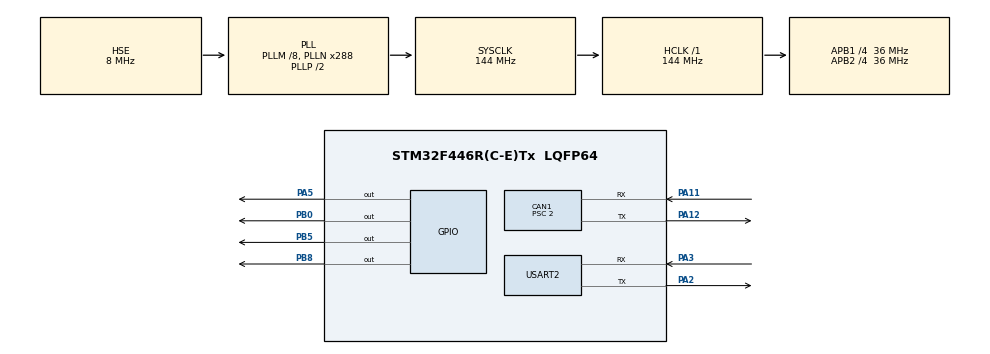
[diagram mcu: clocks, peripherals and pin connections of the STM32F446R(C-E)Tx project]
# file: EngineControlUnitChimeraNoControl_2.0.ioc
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CAN1.AWUM=ENABLE
CAN1.BS1=CAN_BS1_12TQ
CAN1.BS2=CAN_BS2_5TQ
CAN1.CalculateTimeQuantum=55.55555555555556
CAN1.NART=ENABLE
CAN1.Prescaler=2
Mcu.Family=STM32F4
Mcu.Name=STM32F446R(C-E)Tx
Mcu.Package=LQFP64
NVIC.CAN1_RX0_IRQn=true\:0\:0\:false\:true\:true\:1\:true\:true
NVIC.CAN1_RX1_IRQn=true\:0\:0\:false\:true\:true\:2\:true\:true
NVIC.CAN1_SCE_IRQn=true\:0\:0\:false\:true\:true\:3\:true\:true
NVIC.PriorityGroup=NVIC_PRIORITYGROUP_4
NVIC.TIM1_UP_TIM10_IRQn=true\:0\:0\:false\:false\:true\:true\:true
NVIC.TIM6_DAC_IRQn=true\:0\:0\:false\:true\:true\:4\:true\:true
NVIC.TIM7_IRQn=true\:0\:0\:false\:true\:true\:5\:true\:true
PA11.Mode=Master
PA11.Signal=CAN1_RX
PA12.Mode=Master
PA12.Signal=CAN1_TX
PA2.Mode=Asynchronous
PA2.Signal=USART2_TX
PA3.Mode=Asynchronous
PA3.Signal=USART2_RX
PA5.Signal=GPIO_Output
PB0.Signal=GPIO_Output
PB5.Signal=GPIO_Output
PB8.Signal=GPIO_Output
PH0-OSC_IN.Mode=HSE-External-Clock-Source
PH0-OSC_IN.Signal=RCC_OSC_IN
PH1-OSC_OUT.Mode=HSE-External-Clock-Source
PH1-OSC_OUT.Signal=RCC_OSC_OUT
ProjectManager.HeapSize=0x2000
ProjectManager.StackSize=0x4000
ProjectManager.TargetToolchain=STM32CubeIDE
RCC.AHBFreq_Value=144000000
RCC.APB1CLKDivider=RCC_HCLK_DIV4
RCC.APB1Freq_Value=36000000
RCC.APB1TimFreq_Value=72000000
RCC.APB2CLKDivider=RCC_HCLK_DIV4
RCC.APB2Freq_Value=36000000
RCC.APB2TimFreq_Value=72000000
RCC.CortexFreq_Value=144000000
RCC.HCLKFreq_Value=144000000
RCC.HSE_VALUE=8000000
RCC.PLLM=8
RCC.PLLN=288
RCC.PLLQ=8
RCC.PLLSourceVirtual=RCC_PLLSOURCE_HSE
RCC.SYSCLKFreq_VALUE=144000000
RCC.SYSCLKSource=RCC_SYSCLKSOURCE_PLLCLK
RCC.USBFreq_Value=36000000
RCC.VCOOutputFreq_Value=288000000
TIM10.Period=49999
TIM10.Prescaler=7199
TIM6.Period=1999
TIM6.Prescaler=719
TIM7.Period=19999
TIM7.Prescaler=7199
USART2.VirtualMode=VM_ASYNC
VP_TIM10_VS_ClockSourceINT.Mode=Enable_Timer
VP_TIM6_VS_ClockSourceINT.Mode=Enable_Timer
VP_TIM7_VS_ClockSourceINT.Mode=Enable_Timer
board=ECUC

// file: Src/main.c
/* USER CODE BEGIN Header */
/**
  ******************************************************************************
  * @file           : main.c
  * @brief          : Main program body
  ******************************************************************************
  * @attention
  *
  * <h2><center>&copy; Copyright (c) 2019 STMicroelectronics.
  * All rights reserved.</center></h2>
  *
  * This software component is licensed by ST under BSD 3-Clause license,
  * the "License"; You may not use this file except in compliance with the
  * License. You may obtain a copy of the License at:
  *                        opensource.org/licenses/BSD-3-Clause
  *
  ******************************************************************************
  */
/* USER CODE END Header */

#include "main.h"

/* USER CODE BEGIN Includes */
#include <string.h>
#include <stdlib.h>
#include <stdio.h>
#include <inttypes.h>
#include <math.h>
#include "stm32f4xx_hal_gpio.h"
#include "stm32f4xx_hal_tim.h"
#include <stdbool.h>

#define LONG_DELTA 3000
#define SHORT_DELTA 850
#define TIMER_PERIOD 5000

#define MSG_LENGHT 8
#define NUM_DATA 100

#define ID_STEERING_WHEEL 160
#define ID_PEDALS 176
#define ID_FRONT 192
#define ID_CENTER 208
#define ID_BMS_HV 170
#define ID_BMS_LV 255
#define ID_ASK_INV_SX 513
#define ID_ASK_INV_DX 514
#define ID_REQ_INV_SX 385
#define ID_REQ_INV_DX 386
#define ID_ECU 85
#define ID_ASK_STATE 16

#define MAX_POWER 8.0
/* USER CODE END Includes */

CAN_HandleTypeDef hcan1;

TIM_HandleTypeDef htim6;
TIM_HandleTypeDef htim7;
TIM_HandleTypeDef htim10;

UART_HandleTypeDef huart2;

/* USER CODE BEGIN PV */
/* Private variables ---------------------------------------------------------*/

//----------------typedef---------------
typedef uint8_t errorsInt;

// List of SCS
typedef enum {APPS, BSE, LV, MOT_TEMP_SX, MOT_TEMP_DX, INV_TEMP_SX, INV_TEMP_DX, INV_CUR_SX, INV_CUR_DX, NUM_SCS} scsList;

typedef struct fifoDataType {
	int idsave;
	uint8_t RxData[MSG_LENGHT];
} fifoDataType;

typedef struct state_global_data_t{
	bool tractiveSystem;	// Tractive system on=1/off=0
    bool go;				// run=1/setup=0
    bool breakingPedal;		// breaking pedal down=1/up=0
    bool inverterSx;		// inverter Sx enable=1/disable=0
    bool inverterDx;		// inverter Dx enable=1/disable=0
    bool requestOfShutdown;	// shutdown request done yes=1/no=0
    bool writeInCan;		// write in can=1/wait next timeout=0

    bool steeringPresence;
	bool pedalsPresence;
	bool frontalPresence;
	bool centralPresence;
	bool bmsLvPresence;
	bool bmsHvPresence;
	bool invDxPresence;
	bool invSxPresence;

    errorsInt errors;
    errorsInt warningsB1;

    uint8_t scs[NUM_SCS];

	fifoDataType fifoData[NUM_DATA];

	uint16_t dataCounterUp;
	uint16_t dataCounterDown;

    uint8_t accelerator;	// apps value
    uint16_t motLeftTemp;
    uint16_t motRightTemp;
    uint16_t invLeftTemp;
    uint16_t invRightTemp;
    uint16_t invLeftVol;
    uint16_t invRightVol;
    uint16_t invLeftCur;
    uint16_t invRightCur;
    uint32_t hvVol;
    int16_t hvCur;
    int curRequested;
    int8_t powerRequested;		// % of power requested

    uint32_t steeringTimeStamp;
    uint32_t pedalsTimeStamp;
    uint32_t frontalTimeStamp;
    uint32_t centralTimeStamp;
    uint32_t bmsLvTimeStamp;
    uint32_t bmsHvTimeStamp;
    uint32_t invDxTimeStamp;
    uint32_t invSxTimeStamp;
    uint32_t actualTime;
} state_global_data_t;

// List of states
typedef enum {STATE_INIT, STATE_IDLE, STATE_SETUP, STATE_RUN, NUM_STATES} state_t;

// State function and state transition prototypes
typedef state_t state_func_t(state_global_data_t *data);
typedef void transition_func_t(state_global_data_t *data);

/* ---------------- CAN ------------------ */
CAN_FilterTypeDef sFilter;
CAN_RxHeaderTypeDef RxHeader;
HAL_CAN_StateTypeDef state;

/* USER CODE END PV */

void SystemClock_Config(void);
static void MX_GPIO_Init(void);
static void MX_USART2_UART_Init(void);
static void MX_TIM6_Init(void);
static void MX_TIM7_Init(void);
static void MX_CAN1_Init(void);
static void MX_TIM10_Init(void);
static void MX_NVIC_Init(void);
/* USER CODE BEGIN PFP */
/* Private function prototypes -----------------------------------------------*/

//------------------CAN------------------
int CAN_Send(int id, uint8_t *dataTx, int size);
int CAN_Receive(uint8_t *DataRx, int size);

//-----State functions declarations-----
state_t run_state(state_t cur_state, state_global_data_t *data);
state_func_t* const state_table[NUM_STATES];
transition_func_t* const transition_table[NUM_STATES][NUM_STATES];
state_t do_state_init(state_global_data_t *data);
state_t do_state_idle(state_global_data_t *data);
state_t do_state_setup(state_global_data_t *data);
state_t do_state_run(state_global_data_t *data);

//--Transition functions declarations--
void to_idle(state_global_data_t *data);
void from_idle_to_setup(state_global_data_t *data);
void from_run_to_setup(state_global_data_t *data);
void to_run(state_global_data_t *data);

//---------operative function---------
void initData(state_global_data_t *data);
void canSendMSGInit(uint8_t *CanSendMSG);
void checkTimeStamp(state_global_data_t *data);
void sendErrors(state_global_data_t *data);
void shutdown (state_global_data_t *data);
void shutdownErrors(state_global_data_t *data, int err);
void checkValues (state_global_data_t *data);
void transmission (state_global_data_t *data);
/* USER CODE END PFP */

/* USER CODE BEGIN 0 */

/* ---global variables--- */

uint8_t canSendMSG[MSG_LENGHT];
state_global_data_t data;
char mander[50];

/* USER CODE END 0 */

int main(void)
{

  /* MCU Configuration--------------------------------------------------------*/

  /* Reset of all peripherals, Initializes the Flash interface and the Systick. */
  HAL_Init();

  /* USER CODE BEGIN Init */
  state_t STATO = STATE_INIT;
  /* USER CODE END Init */

  /* Configure the system clock */
  SystemClock_Config();

  /* Initialize all configured peripherals */
  MX_GPIO_Init();
  MX_USART2_UART_Init();
  MX_TIM6_Init();
  MX_TIM7_Init();
  MX_CAN1_Init();
  MX_TIM10_Init();

  /* Initialize interrupts */
  MX_NVIC_Init();
  /* USER CODE BEGIN 2 */
  sFilter.FilterMode = CAN_FILTERMODE_IDMASK;
  sFilter.FilterIdLow = 0;
  sFilter.FilterIdHigh = 0;
  sFilter.FilterMaskIdHigh = 0;
  sFilter.FilterMaskIdLow = 0;
  sFilter.FilterFIFOAssignment = CAN_FILTER_FIFO0;
  sFilter.FilterBank = 0;
  sFilter.FilterScale  = CAN_FILTERSCALE_16BIT;
  sFilter.FilterActivation = ENABLE;
  HAL_CAN_ConfigFilter(&hcan1, &sFilter);

  //HAL_CAN_Init(&hcan1);
  HAL_CAN_Start(&hcan1);

  //HAL_TIM_Base_Start(&htim6);
  //HAL_TIM_Base_Start(&htim7);
  HAL_TIM_Base_Start_IT(&htim6);
  HAL_TIM_Base_Start_IT(&htim7);
  HAL_TIM_Base_Start(&htim10);

  __HAL_TIM_SetCounter(&htim6, 0);
  __HAL_TIM_SetCounter(&htim7, 0);
  __HAL_TIM_SetCounter(&htim10, 0);

  HAL_CAN_ActivateNotification(&hcan1, CAN1_RX0_IRQn);
  HAL_CAN_ActivateNotification(&hcan1, CAN1_RX1_IRQn);
  /* USER CODE END 2 */

  /* Infinite loop */
  /* USER CODE BEGIN WHILE */

  while (1){
	checkTimeStamp(&data);
	STATO = run_state(STATO, &data);
	HAL_Delay(0.1);

	if (HAL_GetTick() % 10 > 0 && data.writeInCan == false){
		data.writeInCan = true;
	}

    /* USER CODE END WHILE */

  }
}

void SystemClock_Config(void)
{
  RCC_OscInitTypeDef RCC_OscInitStruct = {0};
  RCC_ClkInitTypeDef RCC_ClkInitStruct = {0};

  /** Configure the main internal regulator output voltage
  */
  __HAL_RCC_PWR_CLK_ENABLE();
  __HAL_PWR_VOLTAGESCALING_CONFIG(PWR_REGULATOR_VOLTAGE_SCALE1);
  /** Initializes the CPU, AHB and APB busses clocks
  */
  RCC_OscInitStruct.OscillatorType = RCC_OSCILLATORTYPE_HSE;
  RCC_OscInitStruct.HSEState = RCC_HSE_BYPASS;
  RCC_OscInitStruct.PLL.PLLState = RCC_PLL_ON;
  RCC_OscInitStruct.PLL.PLLSource = RCC_PLLSOURCE_HSE;
  RCC_OscInitStruct.PLL.PLLM = 8;
  RCC_OscInitStruct.PLL.PLLN = 288;
  RCC_OscInitStruct.PLL.PLLP = RCC_PLLP_DIV2;
  RCC_OscInitStruct.PLL.PLLQ = 8;
  RCC_OscInitStruct.PLL.PLLR = 2;
  if (HAL_RCC_OscConfig(&RCC_OscInitStruct) != HAL_OK)
  {
    Error_Handler();
  }
  /** Initializes the CPU, AHB and APB busses clocks
  */
  RCC_ClkInitStruct.ClockType = RCC_CLOCKTYPE_HCLK|RCC_CLOCKTYPE_SYSCLK
                              |RCC_CLOCKTYPE_PCLK1|RCC_CLOCKTYPE_PCLK2;
  RCC_ClkInitStruct.SYSCLKSource = RCC_SYSCLKSOURCE_PLLCLK;
  RCC_ClkInitStruct.AHBCLKDivider = RCC_SYSCLK_DIV1;
  RCC_ClkInitStruct.APB1CLKDivider = RCC_HCLK_DIV4;
  RCC_ClkInitStruct.APB2CLKDivider = RCC_HCLK_DIV4;

  if (HAL_RCC_ClockConfig(&RCC_ClkInitStruct, FLASH_LATENCY_4) != HAL_OK)
  {
    Error_Handler();
  }
}

/**
  * @brief NVIC Configuration.
  * @retval None
  */
static void MX_NVIC_Init(void)
{
  /* CAN1_RX0_IRQn interrupt configuration */
  HAL_NVIC_SetPriority(CAN1_RX0_IRQn, 0, 0);
  HAL_NVIC_EnableIRQ(CAN1_RX0_IRQn);
  /* CAN1_RX1_IRQn interrupt configuration */
  HAL_NVIC_SetPriority(CAN1_RX1_IRQn, 0, 0);
  HAL_NVIC_EnableIRQ(CAN1_RX1_IRQn);
  /* CAN1_SCE_IRQn interrupt configuration */
  HAL_NVIC_SetPriority(CAN1_SCE_IRQn, 0, 0);
  HAL_NVIC_EnableIRQ(CAN1_SCE_IRQn);
  /* TIM6_DAC_IRQn interrupt configuration */
  HAL_NVIC_SetPriority(TIM6_DAC_IRQn, 0, 0);
  HAL_NVIC_EnableIRQ(TIM6_DAC_IRQn);
  /* TIM7_IRQn interrupt configuration */
  HAL_NVIC_SetPriority(TIM7_IRQn, 0, 0);
  HAL_NVIC_EnableIRQ(TIM7_IRQn);
}

static void MX_CAN1_Init(void)
{

  hcan1.Instance = CAN1;
  hcan1.Init.Prescaler = 2;
  hcan1.Init.Mode = CAN_MODE_NORMAL;
  hcan1.Init.SyncJumpWidth = CAN_SJW_1TQ;
  hcan1.Init.TimeSeg1 = CAN_BS1_12TQ;
  hcan1.Init.TimeSeg2 = CAN_BS2_5TQ;
  hcan1.Init.TimeTriggeredMode = DISABLE;
  hcan1.Init.AutoBusOff = DISABLE;
  hcan1.Init.AutoWakeUp = ENABLE;
  hcan1.Init.AutoRetransmission = ENABLE;
  hcan1.Init.ReceiveFifoLocked = DISABLE;
  hcan1.Init.TransmitFifoPriority = DISABLE;
  if (HAL_CAN_Init(&hcan1) != HAL_OK)
  {
    Error_Handler();
  }

}

static void MX_TIM6_Init(void)
{

  TIM_MasterConfigTypeDef sMasterConfig = {0};

  htim6.Instance = TIM6;
  htim6.Init.Prescaler = 719;
  htim6.Init.CounterMode = TIM_COUNTERMODE_UP;
  htim6.Init.Period = 1999;
  htim6.Init.AutoReloadPreload = TIM_AUTORELOAD_PRELOAD_DISABLE;
  if (HAL_TIM_Base_Init(&htim6) != HAL_OK)
  {
    Error_Handler();
  }
  sMasterConfig.MasterOutputTrigger = TIM_TRGO_RESET;
  sMasterConfig.MasterSlaveMode = TIM_MASTERSLAVEMODE_DISABLE;
  if (HAL_TIMEx_MasterConfigSynchronization(&htim6, &sMasterConfig) != HAL_OK)
  {
    Error_Handler();
  }

}

static void MX_TIM7_Init(void)
{

  TIM_MasterConfigTypeDef sMasterConfig = {0};

  htim7.Instance = TIM7;
  htim7.Init.Prescaler = 7199;
  htim7.Init.CounterMode = TIM_COUNTERMODE_UP;
  htim7.Init.Period = 19999;
  htim7.Init.AutoReloadPreload = TIM_AUTORELOAD_PRELOAD_DISABLE;
  if (HAL_TIM_Base_Init(&htim7) != HAL_OK)
  {
    Error_Handler();
  }
  sMasterConfig.MasterOutputTrigger = TIM_TRGO_RESET;
  sMasterConfig.MasterSlaveMode = TIM_MASTERSLAVEMODE_DISABLE;
  if (HAL_TIMEx_MasterConfigSynchronization(&htim7, &sMasterConfig) != HAL_OK)
  {
    Error_Handler();
  }

}

static void MX_TIM10_Init(void)
{

  htim10.Instance = TIM10;
  htim10.Init.Prescaler = 7199;
  htim10.Init.CounterMode = TIM_COUNTERMODE_UP;
  htim10.Init.Period = 49999;
  htim10.Init.ClockDivision = TIM_CLOCKDIVISION_DIV1;
  htim10.Init.AutoReloadPreload = TIM_AUTORELOAD_PRELOAD_DISABLE;
  if (HAL_TIM_Base_Init(&htim10) != HAL_OK)
  {
    Error_Handler();
  }

}

static void MX_USART2_UART_Init(void)
{

  huart2.Instance = USART2;
  huart2.Init.BaudRate = 115200;
  huart2.Init.WordLength = UART_WORDLENGTH_8B;
  huart2.Init.StopBits = UART_STOPBITS_1;
  huart2.Init.Parity = UART_PARITY_NONE;
  huart2.Init.Mode = UART_MODE_TX_RX;
  huart2.Init.HwFlowCtl = UART_HWCONTROL_NONE;
  huart2.Init.OverSampling = UART_OVERSAMPLING_16;
  if (HAL_UART_Init(&huart2) != HAL_OK)
  {
    Error_Handler();
  }

}

static void MX_GPIO_Init(void)
{
  GPIO_InitTypeDef GPIO_InitStruct = {0};

  /* GPIO Ports Clock Enable */
  __HAL_RCC_GPIOH_CLK_ENABLE();
  __HAL_RCC_GPIOA_CLK_ENABLE();
  __HAL_RCC_GPIOB_CLK_ENABLE();

  /*Configure GPIO pin Output Level */
  HAL_GPIO_WritePin(GPIOA, GPIO_PIN_5, GPIO_PIN_RESET);

  /*Configure GPIO pin Output Level */
  HAL_GPIO_WritePin(GPIOB, GPIO_PIN_0|GPIO_PIN_5|GPIO_PIN_8, GPIO_PIN_RESET);

  /*Configure GPIO pin : PA5 */
  GPIO_InitStruct.Pin = GPIO_PIN_5;
  GPIO_InitStruct.Mode = GPIO_MODE_OUTPUT_PP;
  GPIO_InitStruct.Pull = GPIO_NOPULL;
  GPIO_InitStruct.Speed = GPIO_SPEED_FREQ_LOW;
  HAL_GPIO_Init(GPIOA, &GPIO_InitStruct);

  /*Configure GPIO pins : PB0 PB5 PB8 */
  GPIO_InitStruct.Pin = GPIO_PIN_0|GPIO_PIN_5|GPIO_PIN_8;
  GPIO_InitStruct.Mode = GPIO_MODE_OUTPUT_PP;
  GPIO_InitStruct.Pull = GPIO_NOPULL;
  GPIO_InitStruct.Speed = GPIO_SPEED_FREQ_LOW;
  HAL_GPIO_Init(GPIOB, &GPIO_InitStruct);

}

/* USER CODE BEGIN 4 */

//---------------CAN--------------
int CAN_Send(int id, uint8_t dataTx[], int size){
	/* This function is used to send msgs via can.
	 * In the condition all the mailbox are considered to be sure that
	 * you can physically send the msg.
	 * The delay is needed because of the hardware: if you must send more
	 * than one msgs the hardware has to take its time to reload the msg. */
	uint32_t mailbox;
	uint8_t flag = 0;

	CAN_TxHeaderTypeDef TxHeader;
	TxHeader.StdId = id;
	TxHeader.IDE = CAN_ID_STD;
	TxHeader.RTR = CAN_RTR_DATA;
	TxHeader.DLC = size;
	TxHeader.TransmitGlobalTime = DISABLE;

	if (HAL_CAN_GetTxMailboxesFreeLevel(&hcan1) != 0 && HAL_CAN_IsTxMessagePending(&hcan1, CAN_TX_MAILBOX0+CAN_TX_MAILBOX1+CAN_TX_MAILBOX2) == 0){
		HAL_CAN_AddTxMessage(&hcan1, &TxHeader, dataTx, &mailbox);
		flag = 1;
	}

	HAL_Delay(1);

	return flag;
}

int CAN_Receive(uint8_t *DataRx, int size){
	/* This function is used to receive the msgs sent by other devices */
	if (HAL_CAN_GetRxFifoFillLevel(&hcan1, CAN_RX_FIFO0) != 0){
		HAL_CAN_GetRxMessage(&hcan1, CAN_RX_FIFO0, &RxHeader, DataRx);
	}

	int id = RxHeader.StdId;

	return id;
}

//-----------Interrupt-----------
void HAL_CAN_RxFifo0FullCallback(CAN_HandleTypeDef *hcan){
	/* This function works in interrupt mode, whenever there is a new msg sent by other
	 * devices this is called back.
	 * The idea is to save the new msg in a circular FIFO so that is possible to process
	 * it during the execution of the state in which you are after the interrupt is ended.
	 * Then it looks at the id of the msg to know which device sent it and saves the time
	 * msg is arrived.
	 * In case of the pedals the variables are immediately set because of the delay could
	 * be introduced during the processing of the FIFO in the states.
	 * After all the CounterUp is incremented to point out a new msg is arrived.
	 * Than the operation mod is done so that prevents to make counter overflow */
	int idsave;
	uint8_t RxData[MSG_LENGHT];

	idsave = CAN_Receive(RxData, MSG_LENGHT);

	data.fifoData[data.dataCounterUp].idsave = idsave;
	for (int i = 0; i < MSG_LENGHT; i++){
		data.fifoData[data.dataCounterUp].RxData[i] = RxData[i];
	}

	data.dataCounterUp += 1;
	data.dataCounterUp = data.dataCounterUp % NUM_DATA;

	switch(idsave){
		case ID_STEERING_WHEEL:
			data.steeringPresence = true;
			data.steeringTimeStamp = HAL_GetTick();
			if (RxData[0] == 0x09){
				char mander[50];
				sprintf(mander, "Request Received\n\r");
				HAL_UART_Transmit(&huart2, (uint8_t*)mander, strlen(mander), 10);
			}
			break;
		case ID_PEDALS:
			if (RxData[0] == 0x01 && data.go == 1){
				data.accelerator = RxData[1];
			}else if (RxData[0] == 0x02 && data.go == 1){
				data.breakingPedal = RxData[1];
			}

			data.pedalsPresence = true;
			data.pedalsTimeStamp = HAL_GetTick();
			break;
		case ID_FRONT:
			data.frontalPresence = true;
			data.frontalTimeStamp = HAL_GetTick();
			break;
		case ID_CENTER:
			data.centralPresence = true;
			data.centralTimeStamp = HAL_GetTick();
			break;
		case ID_REQ_INV_SX:
			data.invSxPresence = true;
			data.invSxTimeStamp = HAL_GetTick();
			break;
		case ID_REQ_INV_DX:
			data.invDxPresence = true;
			data.invDxTimeStamp = HAL_GetTick();
			break;
		case ID_BMS_HV:
			data.bmsHvPresence = true;
			data.bmsHvTimeStamp = HAL_GetTick();
			break;
		case ID_BMS_LV:
			data.bmsLvPresence = true;
			data.bmsLvTimeStamp = HAL_GetTick();
			break;
		default:
			/* Non succede niente ai timestamp */
			break;
	}

	if (data.dataCounterUp == data.dataCounterDown){
		shutdownErrors(&data, 0x23);
	}
}

void HAL_CAN_RxFifo1FullCallback(CAN_HandleTypeDef *hcan){
	/* This function works in interrupt mode, whenever there is a new msg sent by other
	 * devices this is called back.
	 * The idea is to save the new msg in a circular FIFO so that is possible to process
	 * it during the execution of the state in which you are after the interrupt is ended.
	 * Then it looks at the id of the msg to know which device sent it and saves the time
	 * msg is arrived.
	 * In case of the pedals the variables are immediately set because of the delay could
	 * be introduced during the processing of the FIFO in the states.
	 * After all the CounterUp is incremented to point out a new msg is arrived.
	 * Than the operation mod is done so that prevents to make counter overflow */
	int idsave;
	uint8_t RxData[MSG_LENGHT];

	idsave = CAN_Receive(RxData, MSG_LENGHT);

	data.fifoData[data.dataCounterUp].idsave = idsave;
	for (int i = 0; i < MSG_LENGHT; i++){
		data.fifoData[data.dataCounterUp].RxData[i] = RxData[i];
	}

	data.dataCounterUp += 1;
	data.dataCounterUp = data.dataCounterUp % NUM_DATA;

	switch(idsave){
		case ID_STEERING_WHEEL:
			data.steeringPresence = true;
			data.steeringTimeStamp = HAL_GetTick();
			break;
		case ID_PEDALS:
			if (RxData[0] == 0x01 && data.go == 1){
				data.accelerator = RxData[1];
			}else if (RxData[0] == 0x02 && data.go == 1){
				data.breakingPedal = RxData[1];
			}

			data.pedalsPresence = true;
			data.pedalsTimeStamp = HAL_GetTick();
			break;
		case ID_FRONT:
			data.frontalPresence = true;
			data.frontalTimeStamp = HAL_GetTick();
			break;
		case ID_CENTER:
			data.centralPresence = true;
			data.centralTimeStamp = HAL_GetTick();
			break;
		case ID_REQ_INV_SX:
			data.invSxPresence = true;
			data.invSxTimeStamp = HAL_GetTick();
			break;
		case ID_REQ_INV_DX:
			data.invDxPresence = true;
			data.invDxTimeStamp = HAL_GetTick();
			break;
		case ID_BMS_HV:
			data.bmsHvPresence = true;
			data.bmsHvTimeStamp = HAL_GetTick();
			break;
		case ID_BMS_LV:
			data.bmsLvPresence = true;
			data.bmsLvTimeStamp = HAL_GetTick();
			break;
		default:
			/* Non succede niente ai timestamp */
			break;
	}

	if (data.dataCounterUp == data.dataCounterDown){
		shutdownErrors(&data, 0x23);
	}
}

void HAL_TIM_PeriodElapsedCallback(TIM_HandleTypeDef *htim){
	/* This functions works in interrupt mode, there are two conditions based on the
	 * timer.
	 * The first one is used to timing the writing in can of recursived msgs like the
	 * torque request to inverter.
	 * The second one is used to make buzzer sounds for just two seconds like set in
	 * the settings of the timer. */

	/*if (htim->Instance == TIM6){
		data.writeInCan = true;
	}*/

	if (htim->Instance == TIM7){
		if (HAL_GPIO_ReadPin(GPIOB, GPIO_PIN_8) == GPIO_PIN_SET){
			HAL_GPIO_WritePin(GPIOB, GPIO_PIN_8, GPIO_PIN_RESET);
		}
	}
}

//-------do_state functions-------
state_t do_state_init(state_global_data_t *data){
	/* This state is the initialization state: it's the first of the Finite State Machine
	 * but it's executed just one time suddenly the car is turned on. */
	initData(data);
	return STATE_IDLE;
}

state_t do_state_idle(state_global_data_t *data){
	/* In this state the Tractive System is completely disable. This is the first state
	 * which the driver is put in contact, here it's possible to turning on the car.
	 * The first thing to do is to check if the CounterDown and the CounterUp are different,
	 * if they are it means that new msgs have been saved in the FIFO so it's possible to
	 * process it.
	 * The mod operation is done to be sure the that counter doesn't overflow.
	 * After this a switch structure checks the id of the first msg to process, if it
	 * corresponds to one of the case considered than it executes the request and
	 * increments the CounterDown else it simply increments the counter.
	 * At the end, if the driver asks for the turning on of the car ECU sends a msg
	 * to the BMS_HV, after receiving back the confirm the variable Tractive System
	 * is set to true and there the FSM goes to the SETUP state. */
	if (data->dataCounterUp != data->dataCounterDown){
		switch(data->fifoData[data->dataCounterDown].idsave){
			/* Debug case: just to know if it's online and in which state */
			case ID_ASK_STATE:
				canSendMSGInit(canSendMSG);
				canSendMSG[0] = 0x10;
				canSendMSG[1] = 0x01;
				CAN_Send(ID_ECU, canSendMSG, MSG_LENGHT);
				break;
			case ID_STEERING_WHEEL:
				switch (data->fifoData[data->dataCounterDown].RxData[0]){
					/* Check who is online */
					case 0x02:
						sendErrors(data);
						break;
					/* Turning on car driver request */
					case 0x03:
						sendErrors(data);
						/* Check for critical errors */
						if (data->errors == 0 || data->errors == 16 || data->errors == 32 || data->errors == 48){
							/* Turning on car request to bms_hv*/
							canSendMSGInit(canSendMSG);
							canSendMSG[0] = 0x0A;
							CAN_Send(ID_ECU, canSendMSG, MSG_LENGHT);
						}
						break;
					default:
						break;
				}
				break;
			case ID_BMS_HV:
				switch (data->fifoData[data->dataCounterDown].RxData[0]){
					/* Turning on car confirmed */
					case 0x03:
						data->tractiveSystem = true;
						break;
					/* Turning off car: shouldn't never happen here */
					case 0x04:
						data->tractiveSystem = false;
						break;
					default:
						break;
				}
				break;
			case ID_REQ_INV_SX:
				/* Check for Inverter status */
				if (data->fifoData[data->dataCounterDown].RxData[0] == 0xD8){
					if (data->fifoData[data->dataCounterDown].RxData[2] == 0x0C){
						canSendMSG[0] = 0x08;
						CAN_Send(ID_ECU, canSendMSG, MSG_LENGHT);
						data->inverterSx = true;
					}else{
						canSendMSG[0] = 0x0C;
						CAN_Send(ID_ECU, canSendMSG, MSG_LENGHT);
						data->inverterSx = false;
					}
				}
				break;
			case ID_REQ_INV_DX:
				/* Check for Inverter status */
				if (data->fifoData[data->dataCounterDown].RxData[0] == 0xD8){
					if (data->fifoData[data->dataCounterDown].RxData[2] == 0x0C){
						canSendMSG[0] = 0x09;
						CAN_Send(ID_ECU, canSendMSG, MSG_LENGHT);
						data->inverterDx = true;
					}else{
						canSendMSG[0] = 0x0D;
						CAN_Send(ID_ECU, canSendMSG, MSG_LENGHT);
						data->inverterDx = false;
					}
				}
				break;
			default:
				break;
		}
		data->dataCounterDown += 1;
		data->dataCounterDown = data->dataCounterDown % NUM_DATA;
	}

	if (data->steeringPresence == true && data->tractiveSystem == true){
		return STATE_SETUP;
	}
	return STATE_IDLE;
}

state_t do_state_setup(state_global_data_t *data){
	/* This state is structured like IDLE.
	 * In this state is possible to:
	 * 	1. enable inverters on driver request. At the moment it's possible to
	 * 	   enable just once a time. Before sending the request it checks the
	 * 	   temperature to avoid issues.
	 *	2. go back to state IDLE on driver request. Please note: to change state
	 *	   confirm by BMS_HV is needed.
	 *	3. go to state RUN on driver request. To go to that state there are
	 *	   some conditions: first of all inverters have to be enabled; then the
	 *	   breaking pedal has to be pressed (by regulation) and no requests of
	 *	   shutdown have to be done. If everything is verified after the request
	 *	   the variable go is set to true.
	 * Since the tractive system is on, all the critical issues have to be checked
	 * so scs signals are analyzed. */
	if (data->dataCounterUp != data->dataCounterDown){
		switch (data->fifoData[data->dataCounterDown].idsave){
			/* Debug case: just to know if it's online and in which state */
			case ID_ASK_STATE:
				canSendMSGInit(canSendMSG);
				canSendMSG[0] = 0x10;
				canSendMSG[1] = 0x02;
				CAN_Send(ID_ECU, canSendMSG, MSG_LENGHT);
				break;
			case ID_STEERING_WHEEL:
				switch (data->fifoData[data->dataCounterDown].RxData[0]){
					/* Check who is online */
					case 0x02:
						sendErrors(data);
						// TODO: reinsert
						//if (data->errors != 0 && data->errors != 16 && data->errors != 32 && data->errors != 48){
							/* Turning on car request to bms_hv*/
							//shutdownErrors(data, data->errors);
						//}
						break;
					/* Stop msg from driver */
					case 0x04:
						shutdown(data);
						break;
					/* Going to run mode driver request */
					case 0x05:
						/* If inverter are turned on and break is pressed i can go to run */
						if (data->inverterSx == true && data->inverterDx == true && data->breakingPedal == true && data->requestOfShutdown == false){
							data->go = true;
							/* Map */
							if (data->fifoData[data->dataCounterDown].RxData[1] == 0xEC){
								data->powerRequested = -20;
							}else{
								data->powerRequested = data->fifoData[data->dataCounterDown].RxData[1];
							}
						}
						break;
					/* Turning on Inverter sx driver request */
					case 0x08:
						if (data->invLeftTemp < 80){
							canSendMSGInit(canSendMSG);

							/* Enable Inverter msg */
							canSendMSG[0] = 0x51;
							canSendMSG[1] = 0x08;
							CAN_Send(ID_ASK_INV_SX, canSendMSG, MSG_LENGHT);

							/* Status Request */
							canSendMSG[0] = 0x3D;
							canSendMSG[1] = 0xD8;
							CAN_Send(ID_ASK_INV_SX, canSendMSG, MSG_LENGHT);
						}
						break;
					/* Turning on Inverter dx driver request */
					case 0x09:
						if (data->invRightTemp < 80){
							canSendMSGInit(canSendMSG);

							/* Enable Inverter msg */
							canSendMSG[0] = 0x51;
							canSendMSG[1] = 0x08;
							CAN_Send(ID_ASK_INV_DX, canSendMSG, MSG_LENGHT);

							/* Status Request */
							canSendMSG[0] = 0x3D;
							canSendMSG[1] = 0xD8;
							CAN_Send(ID_ASK_INV_DX, canSendMSG, MSG_LENGHT);
						}
						break;
					default:
						break;
				}
				break;
			case ID_BMS_HV:
				switch (data->fifoData[data->dataCounterDown].RxData[0]){
					/* Shutdown confirmed */
					case 0x04:
						data->tractiveSystem = false;
						break;
					/* Shutdown caused by an error */
					case 0x08:
						data->tractiveSystem = false;
						break;
					default:
						break;
				}
				break;
			case ID_BMS_LV:
				/* Saving SCS */
				if (data->fifoData[data->dataCounterDown].RxData[0] == 0x01){
					data->scs[LV] = data->fifoData[data->dataCounterDown].RxData[5];
				}
				break;
			case ID_PEDALS:
				/* Saving SCS */
				switch (data->fifoData[data->dataCounterDown].RxData[0]){
					case 0x01:
						data->scs[APPS] = data->fifoData[data->dataCounterDown].RxData[6];
						break;
					case 0x02:
						data->breakingPedal = data->fifoData[data->dataCounterDown].RxData[1];
						data->scs[BSE] = data->fifoData[data->dataCounterDown].RxData[6];
						break;
					default:
						break;
				}
				break;
			case ID_FRONT:
				break;
			case ID_CENTER:
				break;
			case ID_REQ_INV_SX:
				switch (data->fifoData[data->dataCounterDown].RxData[0]){
					case 0x4A:
						data->invLeftTemp = (data->fifoData[data->dataCounterDown].RxData[2] * 256 + data->fifoData[data->dataCounterDown].RxData[1] - 15797) / 112.1182;
						break;
					/* Check for Inverter status */
					case 0xD8:
						if (data->fifoData[data->dataCounterDown].RxData[2] == 0x0C && data->requestOfShutdown == false){
							canSendMSG[0] = 0x08;
							CAN_Send(ID_ECU, canSendMSG, MSG_LENGHT);
							data->inverterSx = true;
						}else{
							canSendMSG[0] = 0x0C;
							CAN_Send(ID_ECU, canSendMSG, MSG_LENGHT);
							data->inverterSx = false;
						}
						break;
					default:
						break;
				}
				break;
			case ID_REQ_INV_DX:
				switch (data->fifoData[data->dataCounterDown].RxData[0]){
					case 0x4A:
						data->invRightTemp = (data->fifoData[data->dataCounterDown].RxData[2] * 256 + data->fifoData[data->dataCounterDown].RxData[1] - 15797) / 112.1182;
						break;
					/* Check for Inverter status */
					case 0xD8:
						if (data->fifoData[data->dataCounterDown].RxData[2] == 0x0C && data->requestOfShutdown == false){
							canSendMSG[0] = 0x09;
							CAN_Send(ID_ECU, canSendMSG, MSG_LENGHT);
							data->inverterDx = true;
						}else{
							canSendMSG[0] = 0x0D;
							CAN_Send(ID_ECU, canSendMSG, MSG_LENGHT);
							data->inverterDx = false;
						}
						break;
					default:
						break;
				}
				break;
			default:
				break;
		}
		data->dataCounterDown += 1;
		data->dataCounterDown = data->dataCounterDown % NUM_DATA;
	}

	/* Check SCS */
	for (int i = 0; i < NUM_SCS; i++){
		if (data->scs[i] != 0){
			shutdownErrors(data, ID_STEERING_WHEEL);
		}
	}

	/* TODO: inserire un messaggio mandato ogni tot, serve per avvisare il BMS_HV che l'ecu � online */
	/*if (data->writeInCan){
		canSendMSGInit(canSendMSG);
		CAN_Send(ID_ECU, canSendMSG, MSG_LENGHT);

		data->writeInCan = false;
	}*/

	if (data->tractiveSystem == false){
		return STATE_IDLE;
	}
	if (data->go == true){
		return STATE_RUN;
	}

	return STATE_SETUP;
}

state_t do_state_run (state_global_data_t *data){
	/* This state is structured like IDLE. Here the car is completely able to run.
	 * In this state is possible to:
	 * 	1. go back to state SETUP on driver request, please note: from here is
	 * 	   not possible to go to state IDLE except for some error.
	 *	2. change map, so that driver could choose power at anytime.
	 *	3. to execute controls: yaw control and slip control to optimize trajectory
	 *	   and at the end transmit current requests to inverters.
	 * Writing in can is possible just every 10 ms, that's because otherwise it
	 * could be possible to block the can-bus.
	 * Since the tractive system is on, all the critical issues have to be checked
	 * so scs signals are analyzed. */
	if (data->dataCounterDown != data->dataCounterUp){
		switch (data->fifoData[data->dataCounterDown].idsave){
			/* Debug case: just to know if it's online and in which state */
			case ID_ASK_STATE:
				canSendMSGInit(canSendMSG);
				canSendMSG[0] = 0x10;
				canSendMSG[1] = 0x03;
				CAN_Send(ID_ECU, canSendMSG, MSG_LENGHT);
				break;
			case ID_STEERING_WHEEL:
				switch (data->fifoData[data->dataCounterDown].RxData[0]){
					/* Check who is online */
					case 0x02:
						sendErrors(data);
						/* map changing */
						if (data->fifoData[data->dataCounterDown].RxData[1] == 0xEC){
							data->powerRequested = -20;
						}else{
							data->powerRequested = data->fifoData[data->dataCounterDown].RxData[1];
						}
						break;
						// TODO: reinsert
						//if (data->errors != 0 && data->errors != 16 && data->errors != 32 && data->errors != 48){
							/* Turning on car request to bms_hv*/
							//shutdownErrors(data, data->errors);
						//}
						break;
					/* Setup request */
					case 0x06:
						data->go = false;
						break;
					default:
						break;
				}
				break;
			case ID_PEDALS:
				switch (data->fifoData[data->dataCounterDown].RxData[0]){
					/* Saving SCS */
					case 0x01:
						data->scs[APPS] = data->fifoData[data->dataCounterDown].RxData[6];
						break;
					case 0x02:
						data->scs[BSE] = data->fifoData[data->dataCounterDown].RxData[6];
						break;
					default:
						break;
				}
				break;
			case ID_FRONT:
				break;
			case ID_CENTER:
				break;
			case ID_BMS_LV:
				switch (data->fifoData[data->dataCounterDown].RxData[0]){
					/* Saving SCS */
					case 0x01:
						data->scs[LV] = data->fifoData[data->dataCounterDown].RxData[5];
						break;
					default:
						break;
				}
				break;
			case ID_BMS_HV:
				switch (data->fifoData[data->dataCounterDown].RxData[0]){
					/* Volt --> must be converted */
					case 0x01:
						data->hvVol = ((data->fifoData[data->dataCounterDown].RxData[1] << 16) + (data->fifoData[data->dataCounterDown].RxData[2] << 8) + 0x00) / 10000;
						break;
					case 0x05:
						data->hvCur = (*(int16_t*) (data->fifoData[data->dataCounterDown].RxData+1))/10;
						break;
					/* Shutdown caused by an error */
					case 0x08:
						data->tractiveSystem = false;
						data->go = false;
						break;
					default:
						break;
				}
				break;
			case ID_REQ_INV_SX:
				switch (data->fifoData[data->dataCounterDown].RxData[0]){
					case 0x4A:
						data->invLeftTemp = data->fifoData[data->dataCounterDown].RxData[2] * 256 + data->fifoData[data->dataCounterDown].RxData[1];
						break;
					case 0x49:
						data->motLeftTemp = data->fifoData[data->dataCounterDown].RxData[2] * 256 + data->fifoData[data->dataCounterDown].RxData[1];
						break;
					default:
						break;
				}
				break;
			case ID_REQ_INV_DX:
				switch (data->fifoData[data->dataCounterDown].RxData[0]){
					case 0x4A:
						data->invRightTemp = data->fifoData[data->dataCounterDown].RxData[2] * 256 + data->fifoData[data->dataCounterDown].RxData[1];
						break;
					case 0x49:
						data->motRightTemp = data->fifoData[data->dataCounterDown].RxData[2] * 256 + data->fifoData[data->dataCounterDown].RxData[1];
						break;
					default:
						break;
				}
				break;
			default:
				break;
		}
		data->dataCounterDown += 1;
		data->dataCounterDown = data->dataCounterDown % NUM_DATA;
	}

	//TODO: controllo

	if (data->writeInCan){
		transmission(data);
		data->writeInCan = false;
	}

	if (data->hvCur * data->hvVol > 1500){
		//shutdownErrors(data, 0x99);
	}

	checkValues(data);

	/* Check SCS */
	/*for (int i = 0; i < NUM_SCS; i++){
		if (data->scs[i] != 0){
			shutdownErrors(data, ID_STEERING_WHEEL);
		}
	}*/

	if (data->tractiveSystem == false){
		return STATE_IDLE;
	}
	if (data->go == false){
		return STATE_SETUP;
	}
	return STATE_RUN;
}

//-------to_state functions--------
void to_idle (state_global_data_t *data){
	/* This function is used everytime ECU goes to state IDLE.
	 * Here the msg to steering wheel is sent to let it know the change of
	 * state. Errors are sent as well.
	 * Moreover a data request for the temperature is sent to inverters.
	 * All the other requests to the inverters are to stop msgs useless in
	 * this state. */
	canSendMSGInit(canSendMSG);

	data->requestOfShutdown = false;

	/* Sending to steering wheel msg i'm in idle, 3 times so i'm sure it won't be lost */
	canSendMSG[0] = 0x04;
	for (int i = 0; i < 3; i++){
		CAN_Send(ID_ECU, canSendMSG, MSG_LENGHT);
	}

	canSendMSGInit(canSendMSG);

	/* Sending Errors To Steering Wheel */
	canSendMSG[0] = 0x01;
	canSendMSG[1] = data->errors;
	canSendMSG[2] = data->warningsB1;
	canSendMSG[3] = 0;
	CAN_Send(ID_ECU, canSendMSG, MSG_LENGHT);

	canSendMSGInit(canSendMSG);

	/* Inverter Disable */
	canSendMSG[0] = 0x51;
	canSendMSG[1] = 0x04;
	CAN_Send(ID_ASK_INV_SX, canSendMSG, MSG_LENGHT);
	CAN_Send(ID_ASK_INV_DX, canSendMSG, MSG_LENGHT);

	/* Status Request */
	canSendMSG[0] = 0x3D;
	canSendMSG[1] = 0xD8;
	CAN_Send(ID_ASK_INV_SX, canSendMSG, MSG_LENGHT);
	CAN_Send(ID_ASK_INV_DX, canSendMSG, MSG_LENGHT);

	/*IGBT Temperature: 100 ms*/
	canSendMSG[0] = 0x3D;
	canSendMSG[1] = 0x4A;
	canSendMSG[2] = 0x64;
	CAN_Send(ID_ASK_INV_SX, canSendMSG, MSG_LENGHT);
	CAN_Send(ID_ASK_INV_DX, canSendMSG, MSG_LENGHT);

	/* Actual Speed Value Filtered: stop sending */
	canSendMSG[0] = 0x3D;
	canSendMSG[1] = 0xA8;
	canSendMSG[2] = 0xFF;
	CAN_Send(ID_ASK_INV_SX, canSendMSG, MSG_LENGHT);
	CAN_Send(ID_ASK_INV_DX, canSendMSG, MSG_LENGHT);

	/* Filtered Actual Current: stop sending */
	canSendMSG[0] = 0x3D;
	canSendMSG[1] = 0x5F;
	canSendMSG[2] = 0xFF;
	CAN_Send(ID_ASK_INV_SX, canSendMSG, MSG_LENGHT);
	CAN_Send(ID_ASK_INV_DX, canSendMSG, MSG_LENGHT);

	/* Command Current: stop sending */
	canSendMSG[0] = 0x3D;
	canSendMSG[1] = 0x26;
	canSendMSG[2] = 0xFF;
	CAN_Send(ID_ASK_INV_SX, canSendMSG, MSG_LENGHT);
	CAN_Send(ID_ASK_INV_DX, canSendMSG, MSG_LENGHT);

	/* Motor Temperature: stop sending */
	canSendMSG[0] = 0x3D;
	canSendMSG[1] = 0x49;
	canSendMSG[2] = 0xFF;
	CAN_Send(ID_ASK_INV_SX, canSendMSG, MSG_LENGHT);
	CAN_Send(ID_ASK_INV_DX, canSendMSG, MSG_LENGHT);

	/* VDC-Bus: stop sending */
	canSendMSG[0] = 0x3D;
	canSendMSG[1] = 0xEB;
	canSendMSG[2] = 0xFF;
	CAN_Send(ID_ASK_INV_SX, canSendMSG, MSG_LENGHT);
	CAN_Send(ID_ASK_INV_DX, canSendMSG, MSG_LENGHT);

	/* Max Motor Current: stop sending */
	canSendMSG[0] = 0x3D;
	canSendMSG[1] = 0x4D;
	canSendMSG[2] = 0xFF;
	CAN_Send(ID_ASK_INV_SX, canSendMSG, MSG_LENGHT);
	CAN_Send(ID_ASK_INV_DX, canSendMSG, MSG_LENGHT);

	/* Motor Continuous Current: stop sending */
	canSendMSG[0] = 0x3D;
	canSendMSG[1] = 0x4E;
	canSendMSG[2] = 0xFF;
	CAN_Send(ID_ASK_INV_SX, canSendMSG, MSG_LENGHT);
	CAN_Send(ID_ASK_INV_DX, canSendMSG, MSG_LENGHT);
}

void from_idle_to_setup (state_global_data_t *data){
	/* This function is used everytime ECU goes from the state IDLE to state
	 * SETUP.
	 * Here the msg to steering wheel is sent to let it know the change of
	 * state.
	 * An inverter disable request is sent to be sure that they're disable.
	 * After that a status request is sent to let it know to steering wheel.
	 * Moreover some data requests are sent to inverters. Read the
	 * descriptions for every msg. */
	canSendMSGInit(canSendMSG);

	/* Sending to steering wheel msg i'm in setup */
	canSendMSG[0] = 0x03;
	CAN_Send(ID_ECU, canSendMSG, MSG_LENGHT);

	/* Inverter Disable */
	canSendMSG[0] = 0x51;
	canSendMSG[1] = 0x04;
	CAN_Send(ID_ASK_INV_SX, canSendMSG, MSG_LENGHT);
	CAN_Send(ID_ASK_INV_DX, canSendMSG, MSG_LENGHT);

	/* Status Request */
	canSendMSG[0] = 0x3D;
	canSendMSG[1] = 0xD8;
	CAN_Send(ID_ASK_INV_SX, canSendMSG, MSG_LENGHT);
	CAN_Send(ID_ASK_INV_DX, canSendMSG, MSG_LENGHT);

	/* Motor Temperature: 100 ms */
	canSendMSG[0] = 0x3D;
	canSendMSG[1] = 0x49;
	canSendMSG[2] = 0x64;
	CAN_Send(ID_ASK_INV_SX, canSendMSG, MSG_LENGHT);
	CAN_Send(ID_ASK_INV_DX, canSendMSG, MSG_LENGHT);

	/* VDC-Bus: 100 ms */
	canSendMSG[0] = 0x3D;
	canSendMSG[1] = 0xEB;
	canSendMSG[2] = 0x64;
	CAN_Send(ID_ASK_INV_SX, canSendMSG, MSG_LENGHT);
	CAN_Send(ID_ASK_INV_DX, canSendMSG, MSG_LENGHT);

	/* V-Out: 100 ms */
	canSendMSG[0] = 0x3D;
	canSendMSG[1] = 0x8A;
	canSendMSG[2] = 0x64;
	CAN_Send(ID_ASK_INV_SX, canSendMSG, MSG_LENGHT);
	CAN_Send(ID_ASK_INV_DX, canSendMSG, MSG_LENGHT);

	/* Motor Power: 100 ms */
	canSendMSG[0] = 0x3D;
	canSendMSG[1] = 0xF6;
	canSendMSG[2] = 0x64;
	CAN_Send(ID_ASK_INV_SX, canSendMSG, MSG_LENGHT);
	CAN_Send(ID_ASK_INV_DX, canSendMSG, MSG_LENGHT);

	/* Torque-Out: 100 ms */
	canSendMSG[0] = 0x3D;
	canSendMSG[1] = 0xA0;
	canSendMSG[2] = 0x64;
	CAN_Send(ID_ASK_INV_SX, canSendMSG, MSG_LENGHT);
	CAN_Send(ID_ASK_INV_DX, canSendMSG, MSG_LENGHT);

	/*
	//Max Motor Current: 20 ms --> logging
	canSendMSG[0] = 0x3D;
	canSendMSG[1] = 0x4D;
	canSendMSG[2] = 0x14;
	CAN_Send(ID_ASK_INV_SX, canSendMSG, MSG_LENGHT);
	CAN_Send(ID_ASK_INV_DX, canSendMSG, MSG_LENGHT);

	//Motor Continuous Current: 20 ms --> logging
	canSendMSG[0] = 0x3D;
	canSendMSG[1] = 0x4E;
	canSendMSG[2] = 0x14;
	CAN_Send(ID_ASK_INV_SX, canSendMSG, MSG_LENGHT);
	CAN_Send(ID_ASK_INV_DX, canSendMSG, MSG_LENGHT);
	*/
}

void from_run_to_setup (state_global_data_t *data){
	/* This function is used everytime ECU goes from the state RUN to state
	 * SETUP.
	 * Here the msg to steering wheel is sent to let it know the change of
	 * state.
	 * An inverter disable request is sent to be sure that they're disable.
	 * After that a status request is sent to let it know to steering wheel.
	 * All the other requests to the inverters are to stop msgs useless in
	 * this state. */
	canSendMSGInit(canSendMSG);

	data->accelerator = 0;

	/* Sending to steering wheel msg i'm in setup */
	canSendMSG[0] = 0x06;
	CAN_Send(ID_ECU, canSendMSG, MSG_LENGHT);

	canSendMSGInit(canSendMSG);

	/* Inverter Disable */
	canSendMSG[0] = 0x51;
	canSendMSG[1] = 0x04;
	CAN_Send(ID_ASK_INV_SX, canSendMSG, MSG_LENGHT);
	CAN_Send(ID_ASK_INV_DX, canSendMSG, MSG_LENGHT);

	/* Status Request */
	canSendMSG[0] = 0x3D;
	canSendMSG[1] = 0xD8;
	CAN_Send(ID_ASK_INV_SX, canSendMSG, MSG_LENGHT);
	CAN_Send(ID_ASK_INV_DX, canSendMSG, MSG_LENGHT);

	/* Actual Speed Value Filtered: stop sending */
	canSendMSG[0] = 0x3D;
	canSendMSG[1] = 0xA8;
	canSendMSG[2] = 0xFF;
	CAN_Send(ID_ASK_INV_SX, canSendMSG, MSG_LENGHT);
	CAN_Send(ID_ASK_INV_DX, canSendMSG, MSG_LENGHT);

	/* Filtered Actual Current: stop sending */
	canSendMSG[0] = 0x3D;
	canSendMSG[1] = 0x5F;
	canSendMSG[2] = 0xFF;
	CAN_Send(ID_ASK_INV_SX, canSendMSG, MSG_LENGHT);
	CAN_Send(ID_ASK_INV_DX, canSendMSG, MSG_LENGHT);

	/* Command Current: stop sending */
	/*canSendMSG[0] = 0x3D;
	canSendMSG[1] = 0x26;
	canSendMSG[2] = 0xFF;
	CAN_Send(ID_ASK_INV_SX, canSendMSG, MSG_LENGHT);
	CAN_Send(ID_ASK_INV_DX, canSendMSG, MSG_LENGHT);*/
}

void to_run (state_global_data_t *data){
	/* This function is used everytime ECU goes to state RUN.
	 * First of all timer is set to 0, that's because by regulation a
	 * buzzer has to ring for a time between 1-3 secs everytime the car
	 * is able to run.
	 * Here the msg to steering wheel is sent to let it know the change of
	 * state.
	 * Moreover some data request are sent to inverters. */
	__HAL_TIM_SetCounter(&htim7, 0);
	HAL_GPIO_WritePin(GPIOB, GPIO_PIN_8, GPIO_PIN_SET);

	canSendMSGInit(canSendMSG);

	/* Sending to steering wheel msg i'm in run */
	canSendMSG[0] = 0x05;
	CAN_Send(ID_ECU, canSendMSG, MSG_LENGHT);

	/* Actual Speed Value Filtered: 50 ms */
	canSendMSG[0] = 0x3D;
	canSendMSG[1] = 0xA8;
	canSendMSG[2] = 0x32;
	CAN_Send(ID_ASK_INV_SX, canSendMSG, MSG_LENGHT);
	CAN_Send(ID_ASK_INV_DX, canSendMSG, MSG_LENGHT);

	/* Filtered Actual Current: 100 ms */
	canSendMSG[0] = 0x3D;
	canSendMSG[1] = 0x5F;
	canSendMSG[2] = 0x64;
	CAN_Send(ID_ASK_INV_SX, canSendMSG, MSG_LENGHT);
	CAN_Send(ID_ASK_INV_DX, canSendMSG, MSG_LENGHT);

	/*
	//Command Current: 20 ms --> logging
	canSendMSG[0] = 0x3D;
	canSendMSG[1] = 0x26;
	canSendMSG[2] = 0x14;
	CAN_Send(ID_ASK_INV_SX, canSendMSG, MSG_LENGHT);
	CAN_Send(ID_ASK_INV_DX, canSendMSG, MSG_LENGHT);
	*/
}

//-----List of state functions-----
state_func_t* const state_table[NUM_STATES] = {
	/* This list is an array called back from the state manager to
	 * know which state function execute according to the state returned
	 * by the function before. */
	do_state_init, do_state_idle,
	do_state_setup, do_state_run
};

//--Table of transition functions--
transition_func_t* const transition_table[NUM_STATES][NUM_STATES] = {
	/* This matrix is called back from the state manager to know
	 * which transition function execute according to present state and
	 * the future state. */
	{ NULL,	to_idle,	NULL,				NULL 	},
	{ NULL,	NULL,		from_idle_to_setup,	NULL	},
	{ NULL,	to_idle,	NULL,				to_run	},
	{ NULL,	to_idle,	from_run_to_setup,	NULL	},
};

//call the current state and returns the next one
state_t run_state(state_t cur_state, state_global_data_t *data){
	/* This function is the state manager.
	 * According to the cur_state passed by the function before is chosen the
	 * new_state and so on. */
	state_t new_state = state_table[cur_state](data);
	transition_func_t *transition = transition_table[cur_state][new_state];
	if (transition){
		transition(data);
	}
	return new_state;
}

//--------operative function--------
void initData(state_global_data_t *data){
	/* This functions is used to initialize all the variables.
	 * It's called just during the state INIT. */
	data->tractiveSystem = false;		// Tractive system off
	data->go = false;					// setup
	data->breakingPedal = false;		// breaking pedal up
	data->inverterSx = false;			// inverter Sx disable
	data->inverterDx = false;			// inverter Dx disable
	data->requestOfShutdown = false;	// shutdown not request
	data->writeInCan = false;			// wait next timeout for writing

	data->steeringPresence = false;
	data->pedalsPresence = false;
	data->frontalPresence = false;
	data->centralPresence = false;
	data->bmsLvPresence = false;
	data->bmsHvPresence = false;
	data->invDxPresence = false;
	data->invSxPresence = false;

	data->errors = 255;					// no devices connected
	data->warningsB1 = 255;				// no sensors connected

	for (int i = 0; i < NUM_SCS; i++){
		data->scs[i] = 0;
	}

	data->dataCounterUp = 0x0000;
	data->dataCounterDown = 0x0000;

	data->accelerator = 0x00;
	data->motLeftTemp = 0x0000;
	data->motRightTemp = 0x0000;
	data->invLeftTemp = 0x0000;
	data->invRightTemp = 0x0000;
	data->invLeftVol = 0x0000;
	data->invRightVol = 0x0000;
	data->invLeftCur = 0x0000;
	data->invRightCur = 0x0000;
	data->hvCur = 0x0000;;
	data->hvVol = 0x00000000;
	data->curRequested = 0.0;
	data->powerRequested = 0x00;

	data->steeringTimeStamp = 0x0000;
	data->pedalsTimeStamp = 0x0000;
	data->frontalTimeStamp = 0x0000;
	data->centralTimeStamp = 0x0000;
	data->bmsLvTimeStamp = 0x0000;
	data->bmsHvTimeStamp = 0x0000;
	data->invDxTimeStamp = 0x0000;
	data->invSxTimeStamp = 0x0000;
}

void canSendMSGInit(uint8_t *CanSendMSG){
	/* This function is used to initialize the msg everytime you need to send
	 * something via can. */
	for(int i = 0; i < MSG_LENGHT; i++){
		CanSendMSG[i] = 0;
	}
}

void checkTimeStamp(state_global_data_t *data){
	/* This function is used to compare the current time with the time of the last msg
	 * sent by a device, if a difference is greater than the preset delta the device
	 * is considered out of order.
	 * There are case since the timer is linear (from 0 to 49999 and than
	 * starts again):
	 * 	1. the first case is used when the current time is greater than the last
	 * 	   time of the msg.
	 *	2. the second case is used when the current time is lower than the last
	 *	   time of the msg, this happens when the timer has ended its period and it's
	 *	   started again from the beginning.
	 * After the check if a device is disabled it increments the variables errors and
	 * warningB1, these are reading bit for bit from the steering wheel so every bit
	 * corresponds to a device, that's why the increment is done in exponentiation of 2. */
	data->errors = 0;
	data->warningsB1 = 0;

	//data->actualTime = __HAL_TIM_GetCounter(&htim10);
	data->actualTime = HAL_GetTick();

	/* Steering Wheel Timer */
	if (data->steeringPresence == true){
		if (data->actualTime > data->steeringTimeStamp){
			if(data->actualTime - data->steeringTimeStamp > LONG_DELTA){
				data->steeringPresence = false;
			}
		}else if(TIMER_PERIOD - (data->steeringTimeStamp - data->actualTime) > LONG_DELTA){
			data->steeringPresence = false;
		}
	}

	/* Pedals Timer */
	if (data->pedalsPresence == true){
		if (data->actualTime > data->pedalsTimeStamp){
			if(data->actualTime - data->pedalsTimeStamp > SHORT_DELTA){
				data->pedalsPresence = false;
				data->errors += 8;
				data->warningsB1 += 192;
			}
		}else if(TIMER_PERIOD - (data->pedalsTimeStamp - data->actualTime) > SHORT_DELTA){
			data->pedalsPresence = false;
			data->errors += 8;
			data->warningsB1 += 192;
		}
	}else{
		data->errors += 8;
		data->warningsB1 += 192;
	}

	/* Frontal Timer */
	if (data->frontalPresence == true){
		if (data->actualTime > data->frontalTimeStamp){
			if(data->actualTime - data->frontalTimeStamp > SHORT_DELTA){
				data->frontalPresence = false;
				data->errors += 32;
				data->warningsB1 += 60;
			}
		}else if(TIMER_PERIOD - (data->frontalTimeStamp - data->actualTime) > SHORT_DELTA){
			data->frontalPresence = false;
			data->errors += 32;
			data->warningsB1 += 60;
		}
	}else{
		data->errors += 32;
		data->warningsB1 += 60;
	}

	/* Central Timer */
	if (data->centralPresence == true){
		if (data->actualTime > data->centralTimeStamp){
			if(data->actualTime - data->centralTimeStamp > SHORT_DELTA){
				data->centralPresence = false;
				data->errors += 16;
				data->warningsB1 += 3;
			}
		}else if(TIMER_PERIOD - (data->centralTimeStamp - data->actualTime) > SHORT_DELTA){
			data->centralPresence = false;
			data->errors += 16;
			data->warningsB1 += 3;
		}
	}else{
		data->errors += 16;
		data->warningsB1 += 3;
	}

	/* BmsLv Timer */
	if (data->bmsLvPresence == true){
		if (data->actualTime > data->bmsLvTimeStamp){
			if(data->actualTime - data->bmsLvTimeStamp > LONG_DELTA){
				data->bmsLvPresence = false;
				data->errors += 2;
			}
		}else if(TIMER_PERIOD - (data->bmsLvTimeStamp - data->actualTime) > LONG_DELTA){
			data->bmsLvPresence = false;
			data->errors += 2;
		}
	}else{
		data->errors += 2;
	}

	/* BmsHv Timer */
	if (data->bmsHvPresence == true){
		if (data->actualTime > data->bmsHvTimeStamp){
			if(data->actualTime - data->bmsHvTimeStamp > LONG_DELTA){
				data->bmsHvPresence = false;
				data->errors += 1;
			}
		}else if(TIMER_PERIOD - (data->bmsHvTimeStamp - data->actualTime) > LONG_DELTA){
			data->bmsHvPresence = false;
			data->errors += 1;
		}
	}else{
		data->errors += 1;
	}

	/* TODO: Reintroduce Inverter Dx*/
	/* Inverter Dx Timer */
	if (data->invDxPresence == true){
		if (data->actualTime > data->invDxTimeStamp){
			if(data->actualTime - data->invDxTimeStamp > SHORT_DELTA){
				data->invDxPresence = false;
				data->errors += 128;
			}
		}else if(TIMER_PERIOD - (data->invDxTimeStamp - data->actualTime) > SHORT_DELTA){
			data->invDxPresence = false;
			data->errors += 128;
		}
	}else{
		data->errors += 128;
	}

	/* Inverter Sx Timer */
	if (data->invSxPresence == true){
		if (data->actualTime > data->invSxTimeStamp){
			if(data->actualTime - data->invSxTimeStamp > SHORT_DELTA){
				data->invSxPresence = false;
				data->errors += 64;
			}
		}else if(TIMER_PERIOD - (data->invSxTimeStamp - data->actualTime) > SHORT_DELTA){
			data->invSxPresence = false;
			data->errors += 64;
		}
	}else{
		data->errors += 64;
	}

	/*if (data->errors != 0){
		char mander[10];
		sprintf(mander, "%d\n\r", data->errors);
		HAL_UART_Transmit(&huart2, (uint8_t*)mander, strlen(mander), 10);
	}*/
}

void sendErrors(state_global_data_t *data){
	/* This function is used to send errors and warnings to the steering wheel.
	 * Errors and Warnings are calculated every cycle but sent just on request. */
	canSendMSGInit(canSendMSG);

	canSendMSG[0] = 0x01;
	canSendMSG[1] = data->errors;
	canSendMSG[2] = data->warningsB1;
	CAN_Send(ID_ECU, canSendMSG, MSG_LENGHT);
}

void shutdown(state_global_data_t *data){
	/* This function is used to sand the turning off request to the BMS_HV.
	 * This is used just on driver request.
	 * The msg is sent three times to be sure that BMS_HV would received that. */
	canSendMSGInit(canSendMSG);

	char mander[50];
	sprintf(mander, "ShutDown\n\r");
	HAL_UART_Transmit(&huart2, (uint8_t*)mander, strlen(mander), 10);

	canSendMSG[0] = 0x0B;
	canSendMSG[1] = 0x04;
	for (int i = 0; i < 3; i++){
		CAN_Send(ID_ECU, canSendMSG, MSG_LENGHT);
	}
	//data->requestOfShutdown = 1;
}

void shutdownErrors(state_global_data_t *data, int err){
	/* This function is used to sand the turning off request to the BMS_HV.
	 * This is used just in case of an error occurred.
	 * The msg is sent three times to be sure that BMS_HV would received that. */
	canSendMSGInit(canSendMSG);

	char mander[50];
	sprintf(mander, "ShutDown_Errors: %d\n\r", err);
	HAL_UART_Transmit(&huart2, (uint8_t*)mander, strlen(mander), 10);

	canSendMSG[0] = 0x0B;
	canSendMSG[1] = 0x08;
	canSendMSG[2] = err;
	for (int i = 0; i < 3; i++){
		CAN_Send(ID_ECU, canSendMSG, MSG_LENGHT);
	}
	//data->requestOfShutdown = 1;
}

void checkValues(state_global_data_t *data){
	/* This function is used to check data coming from inverter.
	 * The scs array is used to keep in memory the situation of the errors. */
	if ((data->motLeftTemp - 9393.9) / 55.1 > 115){
		data->scs[MOT_TEMP_SX] = 0x01;
	}
	if ((data->motRightTemp - 9393.9) / 55.1 > 115){
		data->scs[MOT_TEMP_DX] = 0x01;
	}
	if ((data->invLeftTemp - 15797) / 112.12 > 80){
		data->scs[INV_TEMP_SX] = 0x01;
	}
	if ((data->invRightTemp - 15797) / 112.12 > 80){
		data->scs[INV_TEMP_DX] = 0x01;
	}
	if (data->invLeftCur * 200 / 560 > 235){
		data->scs[INV_CUR_SX] = 0x01;
	}
	if (data->invRightCur * 200 / 560 > 235){
		data->scs[INV_CUR_DX] = 0x01;
	}
}

void transmission(state_global_data_t *data){
	/* This function is used to send the current request to the inverters.
	 * The current needed is calculated considering the max power (80kW) and the
	 * voltage sent by the BMS_HV.
	 * The condition is a recommendation coming from the code of rules, is to be
	 * sure that the driver isn't pressing breaking pedal and accelerator pedal
	 * both.
	 * Current requested are opposite because of the resolver positioned in
	 * opposite direction (right and left). */
	canSendMSGInit(canSendMSG);

	uint8_t firstByte;
	uint8_t secondByte;
	uint8_t negFirstByte;
	uint8_t negSecondByte;
	int negativeCurrentToInverter;

	/* TODO: check rules */
	if((data->breakingPedal == 1 && data->accelerator > 25) || (data->requestOfShutdown == true)){
		data->curRequested = 0;

		canSendMSG[0] = 0x90;
		CAN_Send(ID_ASK_INV_SX, canSendMSG, MSG_LENGHT);
		CAN_Send(ID_ASK_INV_DX, canSendMSG, MSG_LENGHT);
	}else{
		/* Check Inverter datasheet */

		int currentToInverter = ((32767 / 424.2) * (120 / 0.8) * 1.414) * (data->accelerator / 100.0) * (data->powerRequested / 100.0);
		//int currentToInverter = ((32767 * data->powerRequested * 800.0) / (424.2 * data->hvVol)) * (1.414 / 2) * (data->accelerator / 100.0);

		/* Convert current to inverter */
		firstByte = currentToInverter % 256;
		secondByte = currentToInverter / 256;
		canSendMSG[0] = 0x90;
		canSendMSG[1] = firstByte;
		canSendMSG[2] = secondByte;
		CAN_Send(ID_ASK_INV_SX, canSendMSG, MSG_LENGHT);

		/* Convert current to inverter must be negative */
		negativeCurrentToInverter = -currentToInverter;
		negFirstByte = negativeCurrentToInverter % 256;
		negSecondByte = negativeCurrentToInverter / 256;
		canSendMSG[0] = 0x90;
		canSendMSG[1] = negFirstByte;
		canSendMSG[2] = negSecondByte;
		CAN_Send(ID_ASK_INV_DX, canSendMSG, MSG_LENGHT);
	}
}

/* USER CODE END 4 */

void Error_Handler(void)
{
  while(1)
  {
  }
}

/************************ (C) COPYRIGHT STMicroelectronics *****END OF FILE****/
